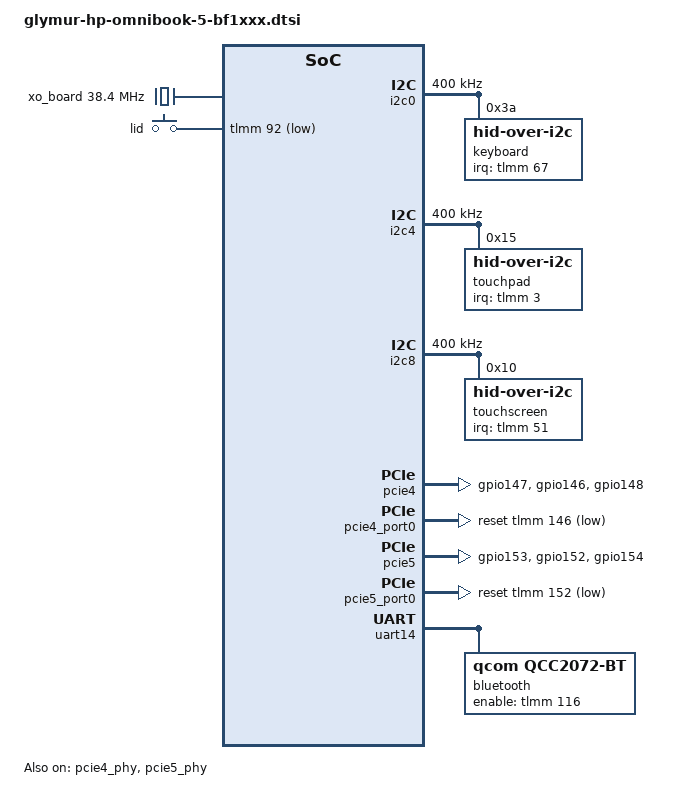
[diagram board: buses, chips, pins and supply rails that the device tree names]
// SPDX-License-Identifier: BSD-3-Clause
/*
 * HP OmniBook 5 Laptop 16-bf1xxx (Snapdragon X2 Elite X2E84100, "Glymur").
 *
 * Every board value comes from this machine: HP's DSDT (decoded with
 * scripts/linux/acpi-crs-decode.py), HP's PEP power tables
 * (analyze-acpi-pep.py, parse-bsrc.py on the HP driver pack), the MADT and
 * the Windows device tree. See docs/device-tree-evidence-2026-09-27.md.
 * Qualcomm's glymur.dtsi describes the SoC.
 *
 * Deliberately conservative:
 *  - no RPMh regulators are declared, so Linux changes no PMIC rail and
 *    every rail stays as HP's firmware left it;
 *  - every TLMM pin that a board file does not use is reserved
 *    (gpio-reserved-ranges, set per .dts), so an unknown pin such as an
 *    EC reset can never be touched.
 */

#include <dt-bindings/gpio/gpio.h>
#include <dt-bindings/input/gpio-keys.h>
#include <dt-bindings/input/input.h>
#include <dt-bindings/interrupt-controller/irq.h>

#include "glymur.dtsi"

/*
 * X2E84100 is a Glymur die with CPU cluster 2 fused off: the MADT lists 18
 * GICC entries and marks MPIDR 0x20000-0x20500 disabled. Remove that
 * cluster and the thermal zones that cool it; Glymur's other blocks
 * (interconnect, TSENS 6/7, PCIe 3a) stay, unlike on the Mahua die.
 */
/delete-node/ &bwmon_cluster2;
/delete-node/ &cluster2_pd;
/delete-node/ &cpu_map_cluster2;
/delete-node/ &cpu12;
/delete-node/ &cpu13;
/delete-node/ &cpu14;
/delete-node/ &cpu15;
/delete-node/ &cpu16;
/delete-node/ &cpu17;
/delete-node/ &cpu_pd12;
/delete-node/ &cpu_pd13;
/delete-node/ &cpu_pd14;
/delete-node/ &cpu_pd15;
/delete-node/ &cpu_pd16;
/delete-node/ &cpu_pd17;
/delete-node/ &thermal_cpu_2_0_0;
/delete-node/ &thermal_cpu_2_0_1;
/delete-node/ &thermal_cpu_2_1_0;
/delete-node/ &thermal_cpu_2_1_1;
/delete-node/ &thermal_cpu_2_2_0;
/delete-node/ &thermal_cpu_2_2_1;
/delete-node/ &thermal_cpu_2_3_0;
/delete-node/ &thermal_cpu_2_3_1;
/delete-node/ &thermal_cpu_2_4_0;
/delete-node/ &thermal_cpu_2_4_1;
/delete-node/ &thermal_cpu_2_5_0;
/delete-node/ &thermal_cpu_2_5_1;
/delete-node/ &thermal_cpuillc_2_1;
/delete-node/ &thermal_cpullc_2_0;

/ {
	chassis-type = "laptop";

	aliases {
		i2c0 = &i2c0;
		i2c4 = &i2c4;
		i2c8 = &i2c8;
		serial1 = &uart14;
	};

	chosen {
	};

	/*
	 * Root clocks from the PMK8850 PMIC (PMIC "A": HP's PEP tables vote its
	 * CLK6_A/CLK7_A buffers). The 38.4 MHz XO and the 32 kHz sleep clock
	 * are properties of that PMIC, not board choices.
	 */
	clocks {
		sleep_clk: sleep-clk {
			compatible = "fixed-clock";
			clock-frequency = <32000>;
			#clock-cells = <0>;
		};

		xo_board: xo-board {
			compatible = "fixed-clock";
			clock-frequency = <38400000>;
			#clock-cells = <0>;
		};
	};

	/*
	 * Lid: \_SB.LID0._LID returns GIO0.LIDR, the level of GPIO 92, with
	 * 1 = open, so the line is low when closed. LIGE signals it on PDC
	 * pin 960 (GPIO 92), both edges.
	 */
	gpio-keys {
		compatible = "gpio-keys";

		pinctrl-0 = <&hall_int_n_default>;
		pinctrl-names = "default";

		switch-lid {
			label = "lid";
			gpios = <&tlmm 92 GPIO_ACTIVE_LOW>;
			linux,input-type = <EV_SW>;
			linux,code = <SW_LID>;
			wakeup-source;
			wakeup-event-action = <EV_ACT_DEASSERTED>;
		};
	};
};

/* HP I2C1 (0xb80000, PEP pins 0/1): keyboard ECKB QTEC0001 at 0x3a. */
&i2c0 {
	clock-frequency = <400000>;

	status = "okay";

	keyboard@3a {
		compatible = "hid-over-i2c";
		reg = <0x3a>;

		/* _DSM 3cdff6f7 function 1 returns 1. */
		hid-descr-addr = <0x1>;
		/* GpioInt level-low, wake, pull-up; PDC pin 704 = GPIO 67. */
		interrupts-extended = <&tlmm 67 IRQ_TYPE_LEVEL_LOW>;

		pinctrl-0 = <&kybd_default>;
		pinctrl-names = "default";

		wakeup-source;
	};
};

/* HP I2C5 (0xb90000, PEP pins 16/17): touchpad TCPD at 0x15. */
&i2c4 {
	clock-frequency = <400000>;

	status = "okay";

	/* ELAN0189 on this SKU (\_SB.SPID == 0). */
	touchpad@15 {
		compatible = "hid-over-i2c";
		reg = <0x15>;

		hid-descr-addr = <0x1>;
		/* GpioInt level-low, wake, pull-up; PDC pin 896 = GPIO 3. */
		interrupts-extended = <&tlmm 3 IRQ_TYPE_LEVEL_LOW>;

		pinctrl-0 = <&tpad_default>;
		pinctrl-names = "default";

		wakeup-source;
	};
};

/* HP I2C9 (0xa80000, PEP pins 32/33): touchscreen TSC1 at 0x10. */
&i2c8 {
	clock-frequency = <400000>;

	status = "okay";

	/* ELAN2513, present on this SKU (\_SB.SKID == 1). */
	touchscreen@10 {
		compatible = "hid-over-i2c";
		reg = <0x10>;

		hid-descr-addr = <0x1>;
		/* GpioInt level-low, pull-up, GPIO 51. No reset line in _CRS. */
		interrupts-extended = <&tlmm 51 IRQ_TYPE_LEVEL_LOW>;

		pinctrl-0 = <&ts_default>;
		pinctrl-names = "default";
	};
};

/*
 * PCIe 4: the QCC2072 Wi-Fi module (17cb:1112, HP 103c:8ef3). PEP drives
 * CLKREQ# GPIO 147. PERST#/WAKE# are not in HP's tables; 146/148 follow
 * the Glymur reference routing that HP's CLKREQ pin matches, confirmed
 * against firmware state by scripts/linux/qcom0f16-snapshot before boot.
 * The module's 3.3 V (GPIO 94) and enables (GPIO 116/117) stay as firmware
 * left them; GPIO 94 and 117 are reserved.
 */
&pcie4 {
	pinctrl-0 = <&pcie4_default>;
	pinctrl-names = "default";

	status = "okay";
};

&pcie4_phy {
	status = "okay";
};

&pcie4_port0 {
	reset-gpios = <&tlmm 146 GPIO_ACTIVE_LOW>;
	wake-gpios = <&tlmm 148 GPIO_ACTIVE_LOW>;
};

/* PCIe 5: NVMe (the root filesystem). PEP drives CLKREQ# GPIO 153. */
&pcie5 {
	pinctrl-0 = <&pcie5_default>;
	pinctrl-names = "default";

	status = "okay";
};

&pcie5_phy {
	status = "okay";
};

&pcie5_port0 {
	reset-gpios = <&tlmm 152 GPIO_ACTIVE_LOW>;
	wake-gpios = <&tlmm 154 GPIO_ACTIVE_LOW>;
};

&tlmm {
	tpad_default: tpad-default-state {
		pins = "gpio3";
		function = "gpio";
		bias-pull-up;
	};

	ts_default: ts-default-state {
		pins = "gpio51";
		function = "gpio";
		bias-pull-up;
	};

	kybd_default: kybd-default-state {
		pins = "gpio67";
		function = "gpio";
		bias-pull-up;
	};

	hall_int_n_default: hall-int-n-state {
		pins = "gpio92";
		function = "gpio";
		bias-disable;
	};

	pcie4_default: pcie4-default-state {
		clkreq-n-pins {
			pins = "gpio147";
			function = "pcie4_clk_req_n";
			drive-strength = <2>;
			bias-pull-up;
		};

		perst-n-pins {
			pins = "gpio146";
			function = "gpio";
			drive-strength = <2>;
			bias-disable;
		};

		wake-n-pins {
			pins = "gpio148";
			function = "gpio";
			drive-strength = <2>;
			bias-pull-up;
		};
	};

	pcie5_default: pcie5-default-state {
		clkreq-n-pins {
			pins = "gpio153";
			function = "pcie5_clk_req_n";
			drive-strength = <2>;
			bias-pull-up;
		};

		perst-n-pins {
			pins = "gpio152";
			function = "gpio";
			drive-strength = <2>;
			bias-disable;
		};

		wake-n-pins {
			pins = "gpio154";
			function = "gpio";
			drive-strength = <2>;
			bias-pull-up;
		};
	};
};

/*
 * HP UR15 (QUP_1_SE_6, 4-wire; UART pins 56-59 per HP's
 * BSRC_UART_4Wire_1.bin): QCC2072 Bluetooth (BTH0, QCOM0F6B). Windows runs
 * it at 3.2 Mbaud (qcbluetooth8480.inf BaudRate). BTH0's GpioIo is GPIO
 * 116, the Bluetooth enable (bt-enable on the Glymur reference design).
 */
&uart14 {
	status = "okay";

	bluetooth {
		compatible = "qcom,qcc2072-bt";
		enable-gpios = <&tlmm 116 GPIO_ACTIVE_HIGH>;
		max-speed = <3200000>;
	};
};
